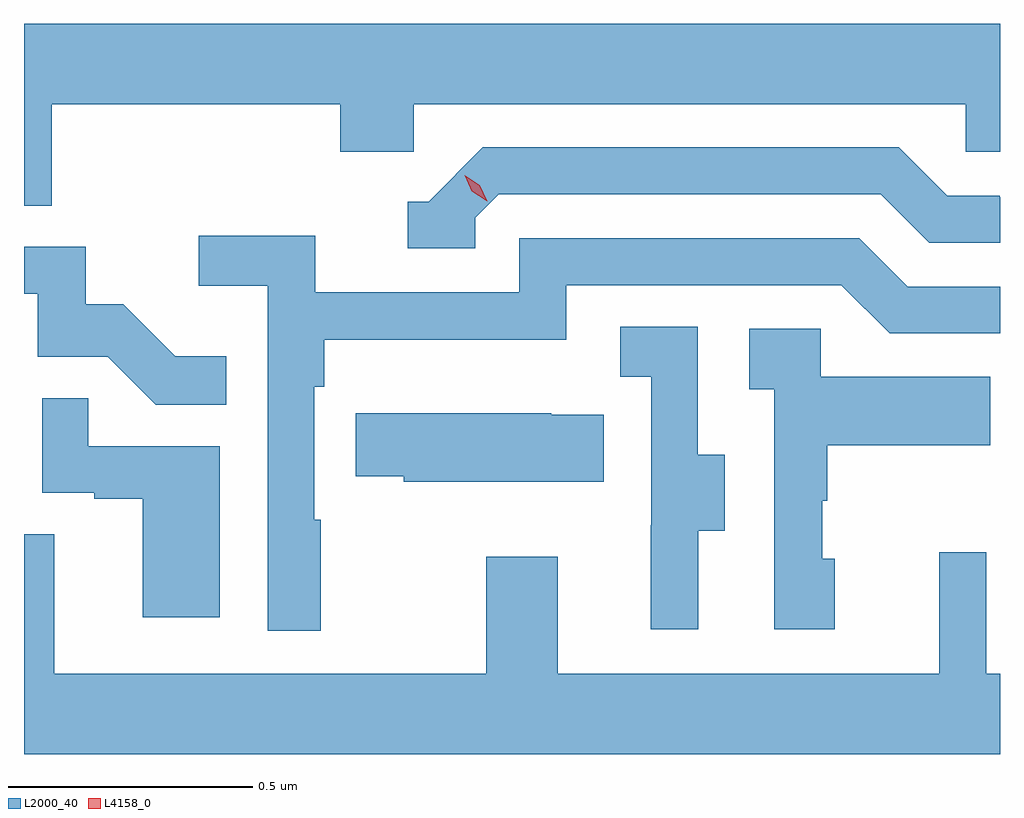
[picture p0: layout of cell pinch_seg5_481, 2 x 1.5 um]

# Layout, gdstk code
import gdstk
lib = gdstk.Library(unit=1e-6, precision=1e-09)
def P(c, l, *ps):  # polygons
    for p in ps: c.add(gdstk.Polygon(p, *l))
L2000_40 = (2000, 40)
L4158_0 = (4158, 0)

pinch_seg5_481 = lib.new_cell('pinch_seg5_481')
P(pinch_seg5_481, L2000_40, [(885.104,863.42),(885.695,863.42),(885.695,863.322),(885.846,863.322),(885.846,863.42),(886.977,863.42),(886.977,863.322),(887.047,863.322),(887.047,863.584),(885.047,863.584),(885.047,863.212),(885.104,863.212)],
  [(885.972,863.187),(886.02,863.235),(886.803,863.235),(886.902,863.136),(887.047,863.136),(887.047,863.229),(887.046,863.229),(887.046,863.232),(886.939,863.232),(886.84,863.331),(885.987,863.331),(885.876,863.22),(885.833,863.22),(885.833,863.124),(885.972,863.124)],
  [(885.655,862.568),(885.642,862.568),(885.642,862.841),(885.662,862.841),(885.662,862.937),(886.158,862.937),(886.158,863.049),(886.722,863.049),(886.821,862.95),(887.047,862.95),(887.047,863.046),(886.858,863.046),(886.759,863.145),(886.062,863.145),(886.062,863.034),(885.644,863.034),(885.644,863.15),(885.405,863.15),(885.405,863.048),(885.546,863.048),(885.546,862.341),(885.655,862.341)],
  [(885.461,862.903),(885.357,862.903),(885.25,863.01),(885.174,863.01),(885.174,863.127),(885.047,863.127),(885.047,863.031),(885.075,863.031),(885.075,862.902),(885.219,862.902),(885.317,862.804),(885.461,862.804)],
  [(886.429,862.546),(886.483,862.546),(886.483,862.701),(886.428,862.701),(886.428,862.964),(886.269,862.964),(886.269,862.861),(886.332,862.861),(886.332,862.557),(886.331,862.557),(886.331,862.344),(886.429,862.344)],
  [(886.708,862.488),(886.683,862.488),(886.683,862.607),(886.693,862.607),(886.693,862.721),(887.027,862.721),(887.027,862.861),(886.68,862.861),(886.68,862.959),(886.533,862.959),(886.533,862.835),(886.584,862.835),(886.584,862.344),(886.708,862.344)],
  [(885.448,862.719),(885.179,862.719),(885.179,862.817),(885.084,862.817),(885.084,862.623),(885.191,862.623),(885.191,862.611),(885.29,862.611),(885.29,862.368),(885.448,862.368)],
  [(886.235,862.783),(886.127,862.783),(886.127,862.786),(885.727,862.786),(885.727,862.657),(885.825,862.657),(885.825,862.646),(886.235,862.646)],
  [(887.047,862.252),(887.019,862.252),(887.019,862.501),(886.922,862.501),(886.922,862.252),(886.141,862.252),(886.141,862.492),(885.994,862.492),(885.994,862.252),(885.109,862.252),(885.109,862.538),(885.047,862.538),(885.047,862.088),(887.047,862.088)])
P(pinch_seg5_481, L4158_0, [(885.996,863.221),(885.965,863.241),(885.95,863.274),(885.95,863.274),(885.95,863.274),(885.981,863.254),(885.996,863.221),(885.996,863.221)])

lib.write_gds('pinch_seg5_481.gds')
